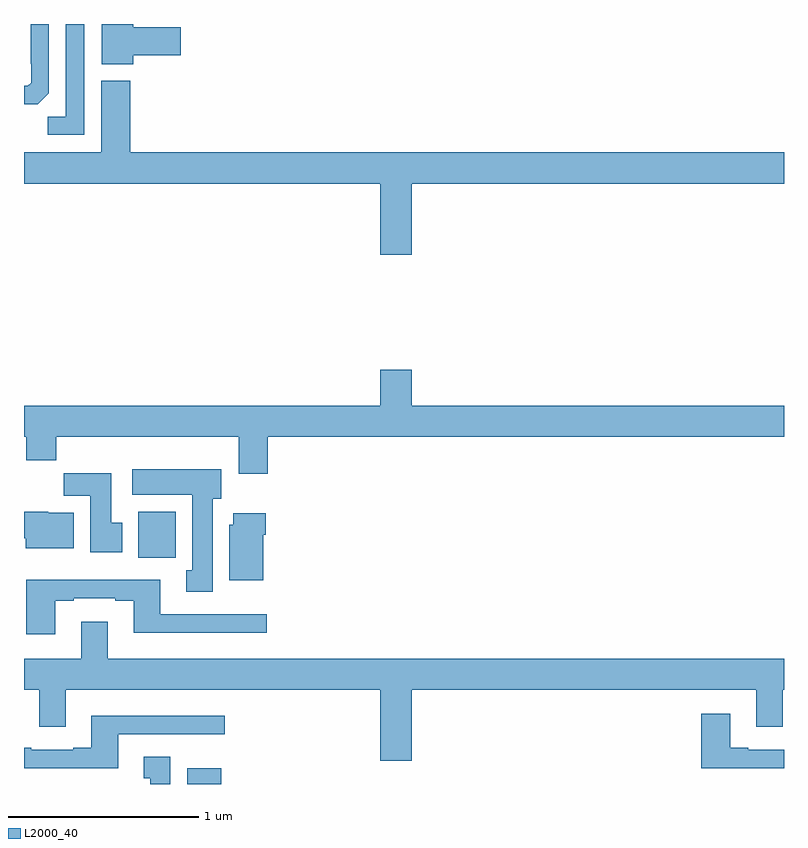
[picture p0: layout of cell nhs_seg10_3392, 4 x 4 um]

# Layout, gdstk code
import gdstk
lib = gdstk.Library(unit=1e-6, precision=1e-09)
def R(c, l, rs):  # rectangles x0, y0, x1, y1
    for r in rs: c.add(gdstk.rectangle(r[:2], r[2:], *l))
def P(c, l, *ps):  # polygons
    for p in ps: c.add(gdstk.Polygon(p, *l))
L2000_40 = (2000, 40)

nhs_seg10_3392 = lib.new_cell('nhs_seg10_3392')
R(nhs_seg10_3392, L2000_40, [(295.859,1286.5,296.038,1286.584), (295.601,1287.692,295.798,1287.934)])
P(nhs_seg10_3392, L2000_40, [(295.131,1290.136),(295.131,1290.5),(295.035,1290.5),(295.035,1290.292),(295.038,1290.292),(295.038,1290.192),(295.02,1290.174),(295,1290.174),(295,1290.077),(295.072,1290.077)],
  [(295.576,1290.335),(295.825,1290.335),(295.825,1290.482),(295.576,1290.482),(295.576,1290.5),(295.409,1290.5),(295.409,1290.287),(295.576,1290.287)],
  [(295.317,1290.5),(295.221,1290.5),(295.221,1290.011),(295.126,1290.011),(295.126,1289.916),(295.317,1289.916)],
  [(297.04,1289.66),(299,1289.66),(299,1289.824),(295.559,1289.824),(295.559,1290.202),(295.406,1290.202),(295.406,1289.824),(295,1289.824),(295,1289.66),(296.876,1289.66),(296.876,1289.286),(297.04,1289.286)],
  [(296.282,1288.328),(299,1288.328),(299,1288.492),(297.04,1288.492),(297.04,1288.681),(296.876,1288.681),(296.876,1288.492),(295,1288.492),(295,1288.328),(295.013,1288.328),(295.013,1288.204),(295.169,1288.204),(295.169,1288.328),(296.129,1288.328),(296.129,1288.134),(296.282,1288.134)],
  [(295.993,1288.002),(296.038,1288.002),(296.038,1288.156),(295.569,1288.156),(295.569,1288.022),(295.886,1288.022),(295.886,1287.626),(295.853,1287.626),(295.853,1287.513),(295.993,1287.513)],
  [(295.516,1287.876),(295.459,1287.876),(295.459,1288.135),(295.21,1288.135),(295.21,1288.016),(295.349,1288.016),(295.349,1287.72),(295.516,1287.72)],
  [(295.261,1287.928),(295.128,1287.928),(295.128,1287.934),(295,1287.934),(295,1287.794),(295.01,1287.794),(295.01,1287.74),(295.261,1287.74)],
  [(296.26,1287.812),(296.273,1287.812),(296.273,1287.925),(296.102,1287.925),(296.102,1287.864),(296.081,1287.864),(296.081,1287.572),(296.26,1287.572)],
  [(295.165,1287.465),(295.261,1287.465),(295.261,1287.477),(295.481,1287.477),(295.481,1287.465),(295.577,1287.465),(295.577,1287.296),(296.278,1287.296),(296.278,1287.393),(295.717,1287.393),(295.717,1287.574),(295.013,1287.574),(295.013,1287.288),(295.165,1287.288)],
  [(297.04,1286.996),(298.853,1286.996),(298.853,1286.802),(298.993,1286.802),(298.993,1286.996),(299,1286.996),(299,1287.16),(295.441,1287.16),(295.441,1287.355),(295.301,1287.355),(295.301,1287.16),(295,1287.16),(295,1286.996),(295.079,1286.996),(295.079,1286.802),(295.219,1286.802),(295.219,1286.996),(296.876,1286.996),(296.876,1286.622),(297.04,1286.622)],
  [(299,1286.679),(298.813,1286.679),(298.813,1286.692),(298.717,1286.692),(298.717,1286.869),(298.565,1286.869),(298.565,1286.582),(299,1286.582)],
  [(295.495,1286.763),(296.056,1286.763),(296.056,1286.86),(295.355,1286.86),(295.355,1286.692),(295.259,1286.692),(295.259,1286.679),(295.039,1286.679),(295.039,1286.692),(295,1286.692),(295,1286.582),(295.495,1286.582)],
  [(295.771,1286.644),(295.631,1286.644),(295.631,1286.531),(295.664,1286.531),(295.664,1286.5),(295.771,1286.5)])

lib.write_gds('nhs_seg10_3392.gds')
